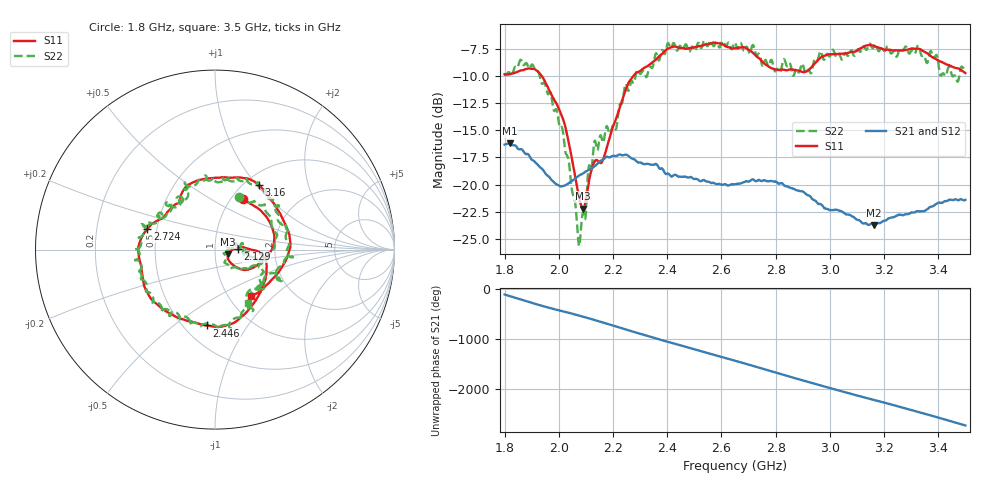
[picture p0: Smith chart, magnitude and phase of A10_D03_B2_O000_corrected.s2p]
! Created with skrf 1.9.0 (http://scikit-rf.org).
# Hz S RI R 50.0
!freq ReS11 ImS11 ReS21 ImS21 ReS12 ImS12 ReS22 ImS22
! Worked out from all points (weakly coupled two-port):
!   1601 points, 1.8 GHz to 3.5 GHz, reference 50 ohm
!   highest |S21| = -16.22 dB at 1.818 GHz (marker M1); lowest = -23.7 dB at 3.163 GHz (marker M2)
!   lowest |S11| = -22.2 dB at 2.089 GHz (marker M3), VSWR 1.17, Z = 57.8 - j3.11 ohm
!   |S11| at or under -10 dB: 1.937 GHz to 2.275 GHz (338.6 MHz wide, 16.1 % of centre)
!   |S22| runs from -25.7 to -6.7 dB; largest |S21 - S12| = 0.0027
!   S11 on the Smith chart (normalised r, x): 1.8 GHz: 1.12, +0.71; 2.129 GHz: 1.29, +0.00; 2.446 GHz: 0.64, -0.66; 2.724 GHz: 0.44, +0.12; 3.16 GHz: 1.15, +1.03; 3.5 GHz: 1.26, -0.73
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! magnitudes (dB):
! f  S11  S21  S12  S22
! 1.8 GHz  -9.9  -16.3  -16.3  -9.8
! 1.818 GHz  -9.9  -16.2  -16.2  -9.7
! 1.903 GHz  -9.4  -17.8  -17.7  -9.0
! 1.968 GHz  -11.5  -19.4  -19.4  -11.5
! 2.015 GHz  -13.9  -20.1  -20.2  -15.0
! 2.072 GHz  -20.8  -19.2  -19.3  -25.2
! 2.084 GHz  -22.0  -19.1  -19.0  -23.4
! 2.089 GHz  -22.2  -19.0  -19.0  -22.6
! 2.129 GHz  -18.0  -18.4  -18.4  -16.3
! 2.163 GHz  -17.7  -17.7  -17.6  -16.1
! 2.261 GHz  -10.5  -17.5  -17.5  -11.1
! 2.367 GHz  -8.3  -18.4  -18.3  -8.5
! 2.446 GHz  -7.4  -19.3  -19.3  -7.2
! 2.65 GHz  -7.5  -20.0  -19.9  -6.9
! 2.724 GHz  -8.1  -19.7  -19.6  -7.8
! 2.934 GHz  -9.2  -21.3  -21.3  -9.6
! 3.16 GHz  -7.2  -23.7  -23.6  -7.4
! 3.163 GHz  -7.2  -23.7  -23.7  -7.3
! 3.217 GHz  -7.6  -23.1  -23.1  -7.5
! 3.327 GHz  -7.5  -22.4  -22.4  -7.2
! 3.468 GHz  -9.3  -21.4  -21.4  -10.4
! 3.5 GHz  -9.8  -21.4  -21.4  -9.1
